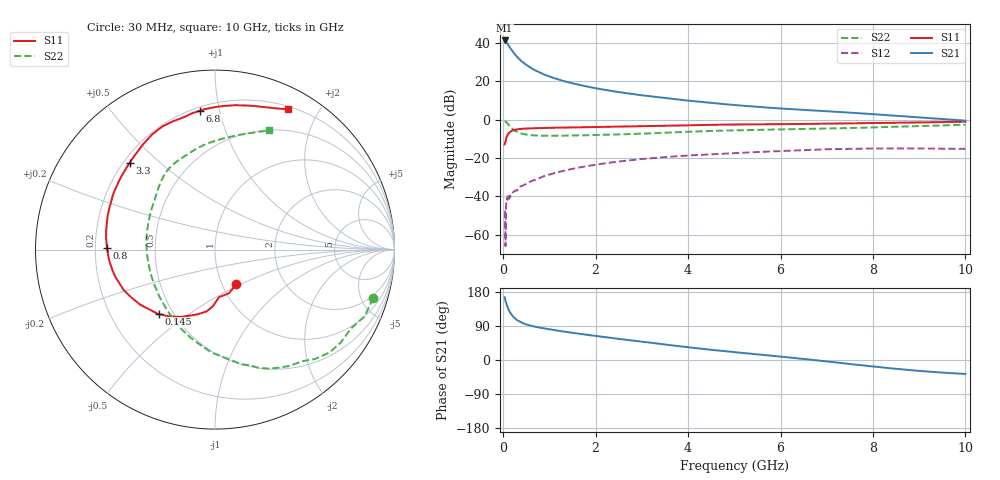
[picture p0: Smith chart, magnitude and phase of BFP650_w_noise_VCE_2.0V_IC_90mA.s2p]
! (c) 2016  Infineon Technologies AG, Munich
! Infineon Technologies  Discrete & RF Semiconductors
! BFP650
! VCE =  2.0 V,  IC =  90 mA
! Common Emitter S-Parameters:  Jan 2016
# GHz  S  MA  R  50
!  f  S11  S21  S12  S22
! GHz  MAG  ANG  MAG  ANG  MAG  ANG  MAG  ANG
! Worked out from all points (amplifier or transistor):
!   229 points, 30 MHz to 10 GHz, reference 50 ohm
!   highest |S21| = 41.3 dB at 30 MHz (marker M1)
!   |S21| within 3 dB of that: start of sweep to 126.6 MHz
!   unconditionally stable (mu >= 1): 48.79 MHz to 51.02 MHz; 1.385 GHz to end of sweep
!   at 280 MHz: K = 0.63, MSG = 35.2 dB, |S12| = -37.0 dB
!   at 1.78 GHz: K = 1.02, MAG = 20.0 dB, |S12| = -24.5 dB
!   at 10 GHz: K = 1.03, MAG = 6.3 dB, |S12| = -15.3 dB
!   lowest NFmin = 1.34 dB at 450 MHz
!   S11 on the Smith chart (normalised r, x): 30 MHz: 1.17, -0.47; 145 MHz: 0.42, -0.39; 800 MHz: 0.25, +0.01; 3.3 GHz: 0.22, +0.40; 6.8 GHz: 0.22, +0.87; 10 GHz: 0.23, +1.62
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0.03  0.225 -57.9  115.8 165.8  0.0041 89.0  0.9215 -17.0
0.04  0.2553 -72.0  114.3 160.8  0.0041 77.2  0.9131 -24.0
0.05  0.2662 -85.3  110.3 156.0  0.0005 37.1  0.8759 -30.1
0.06  0.3134 -91.8  108.2 152.1  0.0051 60.8  0.8713 -36.5
0.08  0.3732 -105.0  100.3 144.1  0.0089 70.3  0.8264 -47.5
0.11  0.4306 -119.6  88.45 134.5  0.0096 67.1  0.7468 -61.8
0.145  0.4744 -130.9  75.92 126.0  0.01 63.0  0.6647 -75.0
0.2  0.517 -143.5  60.8 116.1  0.0122 58.3  0.5738 -91.9
0.24  0.5354 -149.7  52.74 111.2  0.0136 55.8  0.5267 -101.2
0.3  0.5568 -156.4  43.3 105.2  0.0141 59.1  0.4795 -113.3
0.34  0.5631 -160.0  38.67 102.4  0.0171 59.1  0.4545 -119.6
0.5  0.5853 -170.1  26.66 93.8  0.0209 60.4  0.4067 -139.3
0.6  0.5929 -174.3  22.23 90.3  0.0247 60.8  0.3929 -148.1
0.8  0.6021 179.1  16.64 84.9  0.0304 61.0  0.3818 -160.7
1.2  0.6164 169.5  11.05 76.9  0.0429 60.2  0.38 -177.5
1.7  0.6306 159.8  7.774 68.4  0.0577 56.1  0.3886 168.8
3.3  0.6783 134.4  3.898 44.0  0.1005 39.1  0.443 138.6
3.4  0.6824 132.9  3.768 42.4  0.1028 38.0  0.4482 137.1
5.1  0.7469 112.1  2.345 19.6  0.1353 20.3  0.5276 116.7
6.8  0.7785 96.2  1.711 -1.1  0.165 3.0  0.5784 98.3
8.4  0.8238 76.9  1.281 -22.1  0.1771 -14.9  0.6438 80.2
10  0.8815 62.6  0.94 -36.7  0.1719 -27.5  0.7331 65.6
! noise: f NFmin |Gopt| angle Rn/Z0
0.45  1.34  0.53  -171  0.06
0.9  1.36  0.54  -165  0.07
1.9  1.5  0.57  -150  0.09
2.4  1.59  0.56  -141  0.12
3.5  1.78  0.56  -118  0.22
